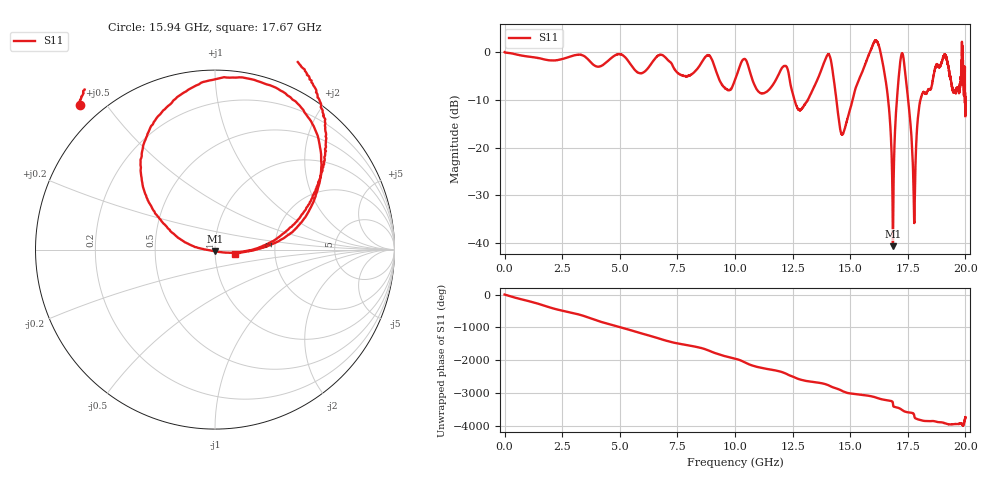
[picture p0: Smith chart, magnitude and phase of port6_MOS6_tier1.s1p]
! Created with skrf 1.8.0 (http://scikit-rf.org).
# GHz S RI R 50.0
!freq ReS11 ImS11
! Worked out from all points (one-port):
!   10001 points, 1 MHz to 20 GHz, reference 50 ohm
!   lowest |S11| = -40.6 dB at 16.85 GHz (marker M1), VSWR 1.02, Z = 50 - j0.931 ohm
!   |S11| at or under -10 dB: 12.58 GHz to 13.16 GHz (584.5 MHz wide, 4.54 % of centre); 14.4 GHz to 15.11 GHz (703.9 MHz wide, 4.77 % of centre); 17.51 GHz to 18.05 GHz (538.1 MHz wide, 3.03 % of centre) (the widest 3 of 8)
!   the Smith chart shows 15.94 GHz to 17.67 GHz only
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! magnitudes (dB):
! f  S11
! 1 MHz  0.0
! 2.501 GHz  -1.5
! 5.001 GHz  -0.4
! 7.501 GHz  -4.4
! 8.841 GHz  -0.7
! 9.565 GHz  -7.6
! 10 GHz  -5.8
! 10.42 GHz  -1.5
! 11.25 GHz  -8.6
! 12.17 GHz  -2.9
! 12.5 GHz  -8.6
! 12.9 GHz  -11.9
! 14.05 GHz  -0.5
! 14.61 GHz  -17.0
! 15 GHz  -11.9
! 16.17 GHz  2.2
! 16.59 GHz  -7.7
! 16.85 GHz  -40.6
! 17.05 GHz  -8.5
! 17.2 GHz  -1.1
! 17.5 GHz  -9.3
! 17.77 GHz  -34.3
! 18.05 GHz  -10.0
! 18.74 GHz  -2.7
! 19.13 GHz  -0.8
! 19.53 GHz  -8.2
! 19.88 GHz  -1.3
! 20 GHz  -13.4
